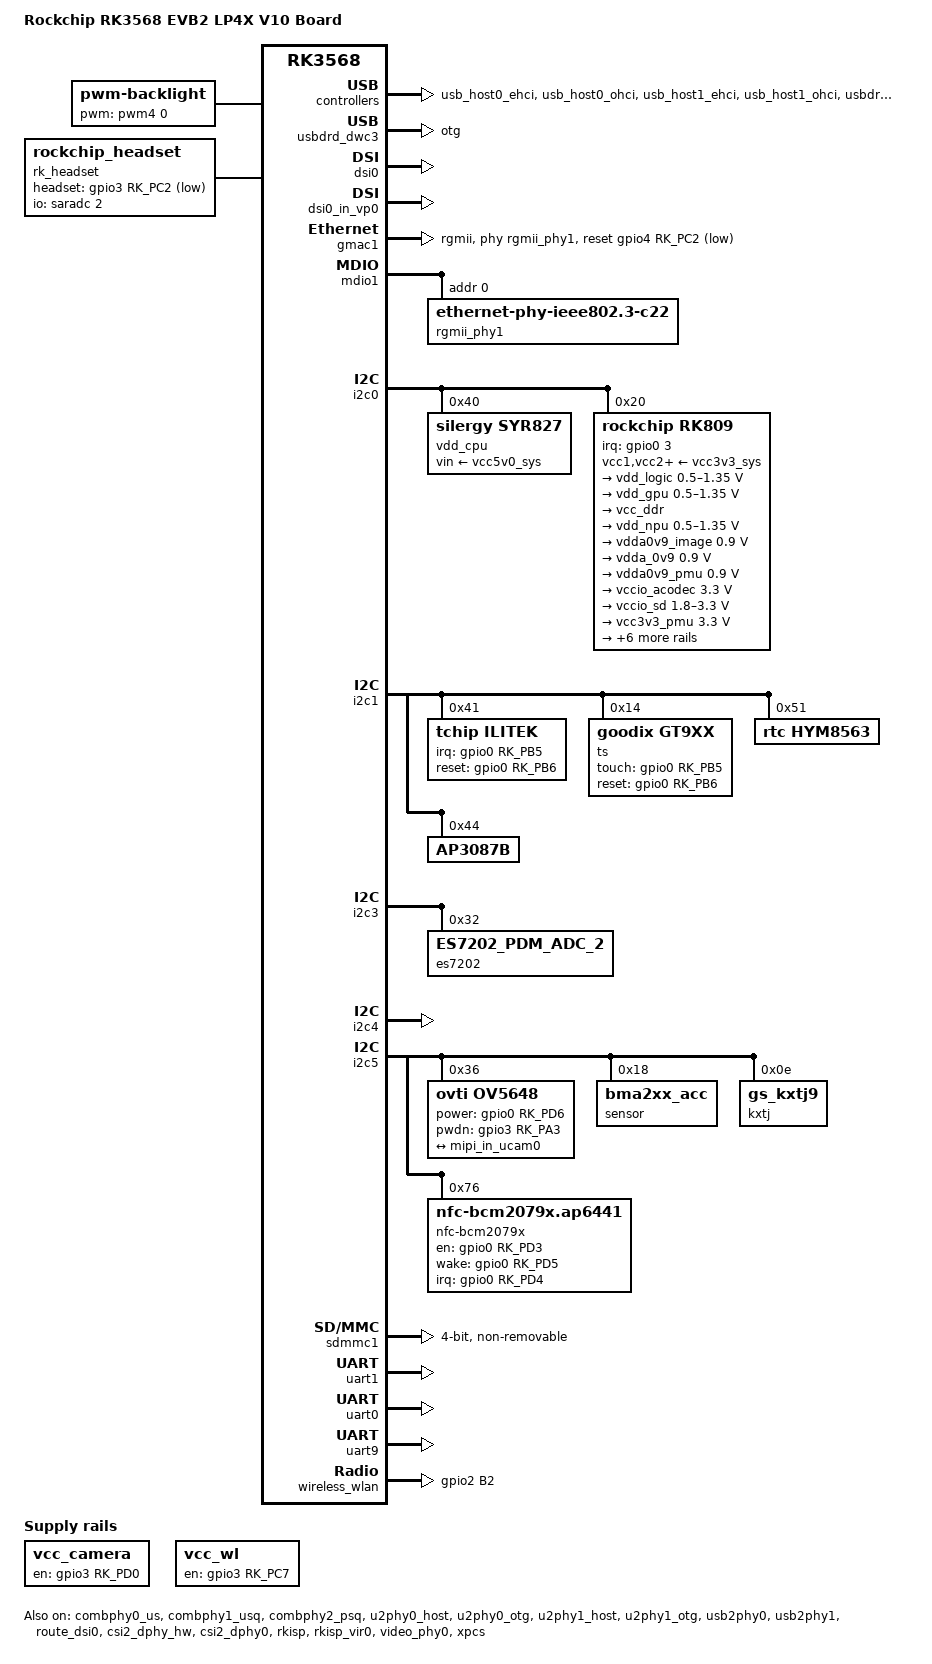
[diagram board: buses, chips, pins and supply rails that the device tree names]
// SPDX-License-Identifier: (GPL-2.0+ OR MIT)
/*
 * Copyright (c) 2020 Rockchip Electronics Co., Ltd.
 *
 */

/dts-v1/;

#include <dt-bindings/gpio/gpio.h>
#include <dt-bindings/pinctrl/rockchip.h>
#include "rk3568.dtsi"
#include "rk3568-evb-r106.dtsi"
#include "rk3568-android.dtsi"
//#include "lcd/lcd-JL101-CC1001-27J.dtsi"
#include "lcd/lcd-JJ101I008-A6-A5.dtsi"

/ {
	model = "Rockchip RK3568 EVB2 LP4X V10 Board";
	compatible = "rockchip,rk3568-evb2-lp4x-v10", "rockchip,rk3568";

	backlight: backlight {
		compatible = "pwm-backlight";
		pwms = <&pwm4 0 25000 0>;
		brightness-levels = <
			  0  20  20  21  21  22  22  23
			 23  24  24  25  25  26  26  27
			 27  28  28  29  29  30  30  31
			 31  32  32  33  33  34  34  35
			 35  36  36  37  37  38  38  39
			 40  41  42  43  44  45  46  47
			 48  49  50  51  52  53  54  55
			 56  57  58  59  60  61  62  63
			 64  65  66  67  68  69  70  71
			 72  73  74  75  76  77  78  79
			 80  81  82  83  84  85  86  87
			 88  89  90  91  92  93  94  95
			 96  97  98  99 100 101 102 103
			104 105 106 107 108 109 110 111
			112 113 114 115 116 117 118 119
			120 121 122 123 124 125 126 127
			128 129 130 131 132 133 134 135
			136 137 138 139 140 141 142 143
			144 145 146 147 148 149 150 151
			152 153 154 155 156 157 158 159
			160 161 162 163 164 165 166 167
			168 169 170 171 172 173 174 175
			176 177 178 179 180 181 182 183
			184 185 186 187 188 189 190 191
			192 193 194 195 196 197 198 199
			200 201 202 203 204 205 206 207
			208 209 210 211 212 213 214 215
			216 217 218 219 220 221 222 223
			224 225 226 227 228 229 230 231
			232 233 234 235 236 237 238 239
			240 241 242 243 244 245 246 247
			248 249 250 251 252 253 254 255
		>;
		default-brightness-level = <200>;
		//enable-gpios = <&gpio0 RK_PC6 GPIO_ACTIVE_HIGH>;
		//pinctrl-names = "default";
		//pinctrl-0 = <&bl_en>;
	};

	
	rk_headset: rk-headset {
		compatible = "rockchip_headset";
		headset_gpio = <&gpio3 RK_PC2 GPIO_ACTIVE_LOW>;
		pinctrl-names = "default";
		pinctrl-0 = <&hp_det>;
		io-channels = <&saradc 2>;
	};

	/*vcc2v5_sys: vcc2v5-ddr {
		compatible = "regulator-fixed";
		regulator-name = "vcc2v5-sys";
		regulator-always-on;
		regulator-boot-on;
		regulator-min-microvolt = <2500000>;
		regulator-max-microvolt = <2500000>;
		vin-supply = <&vcc3v3_sys>;
	};

	vcc3v3_pcie: gpio-regulator {
		compatible = "regulator-fixed";
		regulator-name = "vcc3v3_pcie";
		regulator-min-microvolt = <3300000>;
		regulator-max-microvolt = <3300000>;
		enable-active-high;
		gpio = <&gpio0 RK_PD4 GPIO_ACTIVE_HIGH>;
		startup-delay-us = <5000>;
		vin-supply = <&dc_12v>;
	};

	qsgmii_3v3: gpio-regulator {
		compatible = "regulator-gpio";
		regulator-name = "qsgmii_3v3";
		regulator-min-microvolt = <0100000>;
		regulator-max-microvolt = <3300000>;
		gpios = <&gpio0 RK_PB7 GPIO_ACTIVE_HIGH>;
		gpios-states = <0x1>;
		states = <0100000 0x0
			  3300000 0x1>;
	};

	vcc3v3_bu: vcc3v3-bu {
		compatible = "regulator-fixed";
		regulator-name = "vcc3v3_bu";
		regulator-always-on;
		regulator-boot-on;
		regulator-min-microvolt = <3300000>;
		regulator-max-microvolt = <3300000>;
		vin-supply = <&vcc5v0_sys>;
	};*/
	
	vcc_camera: vcc-camera-regulator {
		compatible = "regulator-fixed";
		gpio = <&gpio3 RK_PD0 GPIO_ACTIVE_HIGH>;
		pinctrl-names = "default";
		pinctrl-0 = <&camera_pwr>;
		regulator-name = "vcc_camera";
		enable-active-high;
		regulator-always-on;
		regulator-boot-on;
	};
	
	/*vcc_4g: vcc-4g-regulator {
		compatible = "regulator-fixed";
		gpio = <&gpio3 RK_PD2 GPIO_ACTIVE_HIGH>;
		pinctrl-names = "default";
		pinctrl-0 = <&pwr_4g>;
		regulator-name = "vcc_4g";
		enable-active-high;
		regulator-always-on;
		regulator-boot-on;
	};*/
	
	vcc_wl: vcc-wl-regulator {
		compatible = "regulator-fixed";
		gpio = <&gpio3 RK_PC7 GPIO_ACTIVE_HIGH>;
		pinctrl-names = "default";
		pinctrl-0 = <&pwr_wl>;
		regulator-name = "vcc_wl";
		enable-active-high;
		regulator-always-on;
		regulator-boot-on;
	};
	
	/*ext_cam_clk: external-camera-clock {
		compatible = "fixed-clock";
		clock-frequency = <24000000>;
		clock-output-names = "CLK_CAMERA_24MHZ";
		#clock-cells = <0>;
	};*/
};

/* add by rocky USB 3.0 OTG/SATA Combo PHY_0 */
&combphy0_us {
	status = "okay";
};

/* add by rocky USB 3.0 Host/SATA/QSGMII Combo PHY_1 */
&combphy1_usq {
	status = "okay";
};

&combphy2_psq {
	status = "okay";
};

//add by rocky usb2 phy0
&u2phy0_host {
	//phy-supply = <&vcc5v0_host>;
	status = "okay";
};

&u2phy0_otg {
	//vbus-supply = <&vcc5v0_otg>;
	status = "okay";
};

//add by rocky usb2.0 phy1
&u2phy1_host {
	//phy-supply = <&vcc5v0_host>;
	status = "okay";
};

&u2phy1_otg {
	//phy-supply = <&vcc5v0_host>;
	status = "okay";
};

/* add by rocky USB OTG/USB Host_1 USB 2.0 Comb PHY_0 */
&usb2phy0 {
	status = "okay";
};

/* add by rocky USB Host_1/USB Host_2 USB 2.0 Comb PHY_0 */
&usb2phy1 {
	status = "okay";
};

/* add by rocky USB 2.0 Host_2 EHCI controller for high speed */
&usb_host0_ehci {
	status = "okay";
};

/* add by rocky USB 2.0 Host_2 OHCI controller for full/low speed */
&usb_host0_ohci {
	status = "okay";
};

/* add by rocky USB 2.0 Host_3 EHCI controller for high speed */
&usb_host1_ehci {
	status = "okay";
};

/* add by rocky USB 2.0 Host_3 OHCI controller for full/low speed */
&usb_host1_ohci {
	status = "okay";
};

&usbdrd_dwc3 {
	dr_mode = "otg";
	extcon = <&usb2phy0>;
	status = "okay";
};

/* add by rocky USB 3.0 OTG controller */
&usbdrd30 {
	status = "okay";
};

&usbhost_dwc3 {
	status = "okay";
};

/* add by rocky USB 3.0 Host_1 controller */
&usbhost30 {
	status = "okay";
};

/*
 * video_phy0 needs to be enabled
 * when dsi0 is enabled
 */
&dsi0 {
	status = "okay";
};

&dsi0_in_vp0 {
	status = "okay";
};

&dsi0_in_vp1 {
	status = "disabled";
};

&dsi0_panel {
	status = "okay";
	power-supply = <&vcc_lcd>;
	enable-gpios = <&gpio3 RK_PD4 GPIO_ACTIVE_HIGH>;
	reset-gpios = <&gpio0 RK_PC6 GPIO_ACTIVE_LOW>;

	pinctrl-names = "default";
	pinctrl-0 = <&lcd_rst_gpio>;
};

&route_dsi0 {
	status = "okay";
	connect = <&vp0_out_dsi0>;
};
/*
 * video_phy1 needs to be enabled
 * when dsi1 is enabled
 */
&dsi1 {
	status = "disabled";
};

&dsi1_in_vp0 {
	status = "disabled";
};

&dsi1_in_vp1 {
	status = "disabled";
};

&route_dsi1 {
	status = "disabled";
	connect = <&vp1_out_dsi1>;
	logo,uboot = "logo_one.bmp";
};


#if 0
&gmac0 {
	phy-supply = <&qsgmii_3v3>;
	phy-mode = "qsgmii";
	rockchip,xpcs = <&xpcs>;

	assigned-clocks = <&cru SCLK_GMAC0_RX_TX>;
	assigned-clock-parents = <&gmac0_xpcsclk>;

	power-domains = <&power RK3568_PD_PIPE>;
	phys = <&combphy1_usq PHY_TYPE_QSGMII>;
	phy-handle = <&qsgmii_phy0>;

	status = "okay";
};

&gmac1 {
	phy-supply = <&qsgmii_3v3>;
	phy-mode = "qsgmii";

	snps,reset-gpio = <&gpio3 RK_PD5 GPIO_ACTIVE_LOW>;
	snps,reset-active-low;
	/* Reset time is 20ms, 100ms for rtl8211f */
	snps,reset-delays-us = <0 20000 100000>;

	assigned-clocks = <&cru SCLK_GMAC1_RX_TX>;
	assigned-clock-parents = <&gmac1_xpcsclk>;

	pinctrl-names = "default";
	pinctrl-0 = <&gmac1m1_miim>;

	power-domains = <&power RK3568_PD_PIPE>;
	phy-handle = <&qsgmii_phy1>;

	status = "okay";
};
#endif

&gmac1 {
	phy-mode = "rgmii";
	clock_in_out = "output";//rk3566 provide
	//clock_in_out = "input";//phy provide

	snps,reset-gpio = <&gpio4 RK_PC2 GPIO_ACTIVE_LOW>;
	snps,reset-active-low;
	/* Reset time is 20ms, 100ms for rtl8211f */
	snps,reset-delays-us = <0 20000 100000>;

	assigned-clocks = <&cru SCLK_GMAC1_RX_TX>, <&cru SCLK_GMAC1>;
	assigned-clock-parents = <&cru SCLK_GMAC1_RGMII_SPEED>, <&cru CLK_MAC1_2TOP>;//rk3566 provide
	//assigned-clock-parents = <&cru SCLK_GMAC1_RGMII_SPEED>, <&cru CLK_MAC1_2TOP>, <&gmac1_clkin>;//phy provide
	assigned-clock-rates = <0>, <125000000>;

	pinctrl-names = "default";
	#if 1//1-rk3566 provide   0-phy provide
	pinctrl-0 = <&gmac1m1_miim
		     &gmac1m1_tx_bus2_level3
		     &gmac1m1_rx_bus2
		     &gmac1m1_rgmii_clk_level2
		     &gmac1m1_rgmii_bus_level3>;
	#else
	pinctrl-0 = <&gmac1m0_miim
		     &gmac1m0_tx_bus2_level3
		     &gmac1m0_rx_bus2
		     &gmac1m0_rgmii_clk_level2
		     &gmac1m0_rgmii_bus_level3
			 &gmac1m0_clkinout>;
	#endif
	
	tx_delay = <0x3a>;//rk3566 provide
	rx_delay = <0x21>;//rk3566 provide
	//tx_delay = <0x3b>;//phy provide
	//rx_delay = <0x1f>;//phy provide

	phy-handle = <&rgmii_phy1>;
	status = "okay";
};

/*&mdio0 {
	rgmii_phy0: phy@0 {
		compatible = "ethernet-phy-ieee802.3-c22";
		reg = <0x0>;
	};
};*/

&mdio1 {
	rgmii_phy1: phy@0 {
		compatible = "ethernet-phy-ieee802.3-c22";
		reg = <0x0>;
	};
};

/*
 * power-supply should switche to vcc3v3_lcd1_n
 * when mipi panel is connected to dsi1.
 */
/*&gt1x {
	power-supply = <&vcc3v3_lcd0_n>;
};*/

&i2c0 {
	status = "okay";

	/*vdd_cpu: tcs4525@1c {
		compatible = "tcs,tcs452x";
		reg = <0x1c>;
		vin-supply = <&vcc5v0_sys>;
		regulator-compatible = "fan53555-reg";
		regulator-name = "vdd_cpu";
		regulator-min-microvolt = <712500>;
		regulator-max-microvolt = <1390000>;
		regulator-init-microvolt = <900000>;
		regulator-ramp-delay = <2300>;
		fcs,suspend-voltage-selector = <1>;
		regulator-boot-on;
		regulator-always-on;
		regulator-state-mem {
			regulator-off-in-suspend;
		};
	};*/

	vdd_cpu: syr827@40 {
		compatible = "silergy,syr827";
		reg = <0x40>;
		vin-supply = <&vcc5v0_sys>;
		regulator-compatible = "fan53555-reg";
		//pinctrl-0 = <&soc_slppin_gpio>;
		//vsel-gpios = <&gpio0 2 GPIO_ACTIVE_HIGH>;
		regulator-name = "vdd_cpu";
		regulator-min-microvolt = <712500>;
		regulator-max-microvolt = <1500000>;
		regulator-init-microvolt = <900000>;//rocky
		regulator-ramp-delay = <1000>;
		fcs,suspend-voltage-selector = <1>;
		regulator-always-on;
		regulator-boot-on;
		regulator-initial-state = <3>;
		regulator-state-mem {
			regulator-off-in-suspend;
		};
	};

	rk809: pmic@20 {
		compatible = "rockchip,rk809";
		reg = <0x20>;
		interrupt-parent = <&gpio0>;
		interrupts = <3 IRQ_TYPE_LEVEL_LOW>;

		pinctrl-names = "default", "pmic-sleep",
				"pmic-power-off", "pmic-reset";
		pinctrl-0 = <&pmic_int>;
		pinctrl-1 = <&soc_slppin_slp>, <&rk817_slppin_slp>;
		pinctrl-2 = <&soc_slppin_gpio>, <&rk817_slppin_pwrdn>;
		pinctrl-3 = <&soc_slppin_gpio>, <&rk817_slppin_rst>;

		rockchip,system-power-controller;
		wakeup-source;
		#clock-cells = <1>;
		clock-output-names = "rk808-clkout1", "rk808-clkout2";
		//fb-inner-reg-idxs = <2>;
		/* 1: rst regs (default in codes), 0: rst the pmic */
		pmic-reset-func = <0>;
		/* not save the PMIC_POWER_EN register in uboot */
		not-save-power-en = <1>;

		vcc1-supply = <&vcc3v3_sys>;
		vcc2-supply = <&vcc3v3_sys>;
		vcc3-supply = <&vcc3v3_sys>;
		vcc4-supply = <&vcc3v3_sys>;
		vcc5-supply = <&vcc3v3_sys>;
		vcc6-supply = <&vcc3v3_sys>;
		vcc7-supply = <&vcc3v3_sys>;
		vcc8-supply = <&vcc3v3_sys>;
		vcc9-supply = <&vcc3v3_sys>;

		pwrkey {
			status = "okay";
		};

		rtc {
			status = "disabled";
		};

		pinctrl_rk8xx: pinctrl_rk8xx {
			gpio-controller;
			#gpio-cells = <2>;

			rk817_slppin_null: rk817_slppin_null {
				pins = "gpio_slp";
				function = "pin_fun0";
			};

			rk817_slppin_slp: rk817_slppin_slp {
				pins = "gpio_slp";
				function = "pin_fun1";
			};

			rk817_slppin_pwrdn: rk817_slppin_pwrdn {
				pins = "gpio_slp";
				function = "pin_fun2";
			};

			rk817_slppin_rst: rk817_slppin_rst {
				pins = "gpio_slp";
				function = "pin_fun3";
			};
		};

		regulators {
			vdd_logic: DCDC_REG1 {
				regulator-always-on;
				regulator-boot-on;
				regulator-min-microvolt = <500000>;
				regulator-max-microvolt = <1350000>;
				regulator-init-microvolt = <900000>;
				regulator-ramp-delay = <6001>;
				regulator-initial-mode = <0x2>;
				regulator-name = "vdd_logic";
				regulator-state-mem {
					regulator-off-in-suspend;
				};
			};

			vdd_gpu: DCDC_REG2 {
				regulator-always-on;
				regulator-boot-on;
				regulator-min-microvolt = <500000>;
				regulator-max-microvolt = <1350000>;
				regulator-init-microvolt = <900000>;
				regulator-ramp-delay = <6001>;
				regulator-initial-mode = <0x2>;
				regulator-name = "vdd_gpu";
				regulator-state-mem {
					regulator-off-in-suspend;
				};
			};

			vcc_ddr: DCDC_REG3 {
				regulator-always-on;
				regulator-boot-on;
				regulator-initial-mode = <0x2>;
				regulator-name = "vcc_ddr";
				regulator-state-mem {
					regulator-on-in-suspend;
				};
			};

			vdd_npu: DCDC_REG4 {
				regulator-always-on;
				regulator-boot-on;
				regulator-min-microvolt = <500000>;
				regulator-max-microvolt = <1350000>;
				regulator-init-microvolt = <900000>;
				regulator-ramp-delay = <6001>;
				regulator-initial-mode = <0x2>;
				regulator-name = "vdd_npu";
				regulator-state-mem {
					regulator-off-in-suspend;
				};
			};

			vdda0v9_image: LDO_REG1 {
				regulator-boot-on;
				regulator-always-on;
				regulator-min-microvolt = <900000>;
				regulator-max-microvolt = <900000>;
				regulator-name = "vdda0v9_image";
				regulator-state-mem {
					regulator-off-in-suspend;
				};
			};

			vdda_0v9: LDO_REG2 {
				regulator-always-on;
				regulator-boot-on;
				regulator-min-microvolt = <900000>;
				regulator-max-microvolt = <900000>;
				regulator-name = "vdda_0v9";
				regulator-state-mem {
					regulator-off-in-suspend;
				};
			};

			vdda0v9_pmu: LDO_REG3 {
				regulator-always-on;
				regulator-boot-on;
				regulator-min-microvolt = <900000>;
				regulator-max-microvolt = <900000>;
				regulator-name = "vdda0v9_pmu";
				regulator-state-mem {
					regulator-on-in-suspend;
					regulator-suspend-microvolt = <900000>;
				};
			};

			vccio_acodec: LDO_REG4 {
				regulator-always-on;
				regulator-boot-on;
				regulator-min-microvolt = <3300000>;
				regulator-max-microvolt = <3300000>;
				regulator-name = "vccio_acodec";
				regulator-state-mem {
					regulator-off-in-suspend;
				};
			};

			vccio_sd: LDO_REG5 {
				regulator-always-on;
				regulator-boot-on;
				regulator-min-microvolt = <1800000>;
				regulator-max-microvolt = <3300000>;
				regulator-name = "vccio_sd";
				regulator-state-mem {
					regulator-off-in-suspend;
				};
			};

			vcc3v3_pmu: LDO_REG6 {
				regulator-always-on;
				regulator-boot-on;
				regulator-min-microvolt = <3300000>;
				regulator-max-microvolt = <3300000>;
				regulator-name = "vcc3v3_pmu";
				regulator-state-mem {
					regulator-on-in-suspend;
					regulator-suspend-microvolt = <3300000>;
				};
			};

			vcca_1v8: LDO_REG7 {
				regulator-always-on;
				regulator-boot-on;
				regulator-min-microvolt = <1800000>;
				regulator-max-microvolt = <1800000>;
				regulator-name = "vcca_1v8";
				regulator-state-mem {
					regulator-off-in-suspend;
				};
			};

			vcca1v8_pmu: LDO_REG8 {
				regulator-always-on;
				regulator-boot-on;
				regulator-min-microvolt = <1800000>;
				regulator-max-microvolt = <1800000>;
				regulator-name = "vcca1v8_pmu";
				regulator-state-mem {
					regulator-on-in-suspend;
					regulator-suspend-microvolt = <1800000>;
				};
			};

			vcca1v8_image: LDO_REG9 {
				regulator-always-on;
				regulator-boot-on;
				regulator-min-microvolt = <1800000>;
				regulator-max-microvolt = <1800000>;
				regulator-name = "vcca1v8_image";
				regulator-state-mem {
					regulator-off-in-suspend;
				};
			};

			vcc_1v8: DCDC_REG5 {
				regulator-always-on;
				regulator-boot-on;
				regulator-min-microvolt = <1800000>;
				regulator-max-microvolt = <1800000>;
				regulator-name = "vcc_1v8";
				regulator-state-mem {
					regulator-off-in-suspend;
				};
			};

			vcc_3v3: SWITCH_REG1 {
				regulator-always-on;
				regulator-boot-on;
				regulator-name = "vcc_3v3";
				regulator-state-mem {
					regulator-off-in-suspend;
				};
			};

			vcc3v3_sd: SWITCH_REG2 {
				regulator-always-on;
				regulator-boot-on;
				regulator-name = "vcc3v3_sd";
				regulator-state-mem {
					regulator-off-in-suspend;
				};
			};
		};

		rk809_codec: codec {
			#sound-dai-cells = <0>;
			compatible = "rockchip,rk809-codec", "rockchip,rk817-codec";
			clocks = <&cru I2S1_MCLKOUT>;
			clock-names = "mclk";
			assigned-clocks = <&cru I2S1_MCLKOUT>, <&cru I2S1_MCLK_TX_IOE>;
			assigned-clock-rates = <12288000>;
			assigned-clock-parents = <&cru I2S1_MCLKOUT_TX>, <&cru I2S1_MCLKOUT_TX>;
			pinctrl-names = "default";
			pinctrl-0 = <&i2s1m0_mclk>;
			hp-volume = <17>;//20-4.39mW//add 22Ohm  8-0.385-4.49mW//4.9mW
			spk-volume = <15>;//15-2.5v-4Ω3W
			capture-volume = <20>;//20
			//out-l2spk-r2hp;
			mic-in-differential;
			//pdmdata-out-enable;
			use-ext-amplifier;
			//adc-for-loopback;
			spk-ctl-gpios = <&gpio3 RK_PC3 GPIO_ACTIVE_HIGH>;
			status = "okay";
		};
	};
};

&i2c1 {
	status = "okay";

	ilitek@41 {
		status = "okay";
		compatible = "tchip,ilitek";
		reg = <0x41>;
		ilitek,irq-gpio = <&gpio0 RK_PB5 IRQ_TYPE_LEVEL_LOW>;
		ilitek,reset-gpio = <&gpio0 RK_PB6 GPIO_ACTIVE_HIGH>;	    
	};

	ts@14 {
		status = "okay";
		compatible = "goodix,gt9xx";
		reg = <0x14>;
		touch-gpio = <&gpio0 RK_PB5 IRQ_TYPE_LEVEL_LOW>;
		reset-gpio = <&gpio0 RK_PB6 GPIO_ACTIVE_HIGH>;
		max-x = <1920>;
		max-y = <1080>;
		tp-size = <89>;
    };

	hym8563: hym8563@51 {
		compatible = "rtc,hym8563";
		reg = <0x51>;
		#clock-cells = <0>;
		status = "okay";
	};

    AP3087B@44 {
        status = "okay";
        compatible = "AP3087B";
        reg = <0x44>;
    };
};

&i2c2 {
	status = "disabled";
	pinctrl-names = "default";
	pinctrl-0 = <&i2c2m1_xfer>;
};

&i2c3 {
	status = "okay";

	es7202: es7202@32 {
		status = "okay";
		#sound-dai-cells = <0>;
		compatible = "ES7202_PDM_ADC_2";
		reg = <0x32>;
	};
};

&i2c4 {
	status = "okay";
};

&i2c5 {
	status = "okay";

    ov5648: ov5648@36 {
        compatible = "ovti,ov5648";
        status = "okay";
        reg = <0x36>;
        //clocks = <&cru CLK_CAM0_OUT>;
        clocks = <&cru CLK_CIF_OUT>;//rocky
        clock-names = "xvclk";
        power-domains = <&power RK3568_PD_VI>;//rocky
        /* avdd-supply = <>; */
        /* dvdd-supply = <>; */
        /* dovdd-supply = <>; */
        /* reset-gpios = <>; */
        //dovdd-supply = <&vcc1v8_dvp>;
        power-gpios = <&gpio0 RK_PD6 GPIO_ACTIVE_HIGH>;
        //reset-gpios = <&gpio3 RK_PC1 GPIO_ACTIVE_HIGH>;
        pwdn-gpios = <&gpio3 RK_PA3 GPIO_ACTIVE_HIGH>;
        pinctrl-names = "rockchip,camera_default", "rockchip,camera_sleep";
        //pinctrl-0 = <&cam_clkout0>;
        //pinctrl-1 = <&cam_sleep>;
        pinctrl-0 = <&cif_clk>;
        pinctrl-1 = <&cam_sleep_2>;
        rockchip,camera-module-index = <0>;
        rockchip,camera-module-facing = "front";
        rockchip,camera-module-name = "default";
        rockchip,camera-module-lens-name = "default";                

        port {
            ov5648_out: endpoint {
                remote-endpoint = <&mipi_in_ucam0>;
                //remote-endpoint = <&mipi_in_ucam1>;
                data-lanes = <1 2>;
            };
        };
    };

	sensor@18 {
		status = "okay";
		compatible = "bma2xx_acc";
		reg = <0x18>;
		type = <SENSOR_TYPE_ACCEL>;
		irq_enable = <0>;
		//pinctrl-names = "default";
		//pinctrl-0 = <&sensor_gpio>;
		//irq-gpio = <&gpio3 RK_PA4 IRQ_TYPE_EDGE_RISING>;
		poll_delay_ms = <10>;
		power-off-in-suspend = <1>;
		layout = <7>;
	};

	kxtj: kxtj2@0e {
		status = "okay";
		compatible = "gs_kxtj9";
		reg = <0x0e>;
		type = <SENSOR_TYPE_ACCEL>;
		irq_enable = <0>;
		//pinctrl-names = "default";
		//pinctrl-0 = <&sensor_gpio>;
		//irq-gpio = <&gpio3 RK_PA4 IRQ_TYPE_EDGE_RISING>;
		poll_delay_ms = <30>;
		power-off-in-suspend = <1>;
		layout = <7>;
	};

	nfc-bcm2079x@76 {
		compatible = "nfc-bcm2079x.ap6441";
		reg = <0x76>;
		//pw_gpio = <&gpio7 16 GPIO_ACTIVE_HIGH>;
		en_gpio   = <&gpio0 RK_PD3 GPIO_ACTIVE_HIGH>;
		wake_gpio = <&gpio0 RK_PD5 GPIO_ACTIVE_HIGH>;
		irq_gpio  = <&gpio0 RK_PD4 IRQ_TYPE_EDGE_RISING>;
		status = "okay";
    };
};

&csi2_dphy_hw {
	status = "okay";
};

&csi2_dphy0 {
	status = "okay";

	ports {
		#address-cells = <1>;
		#size-cells = <0>;
		port@0 {
			reg = <0>;
			#address-cells = <1>;
			#size-cells = <0>;
			
			mipi_in_ucam0: endpoint@0 {
				reg = <0>;
				remote-endpoint = <&ov5648_out>;
				data-lanes = <1 2>;
			};
		};
		port@1 {
			reg = <1>;
			#address-cells = <1>;
			#size-cells = <0>;

			csidphy0_out: endpoint@0 {
				reg = <0>;
				remote-endpoint = <&isp0_in>;
			};
		};
	};
};

&rkisp {
	status = "okay";
};

&rkisp_mmu {
	status = "okay";
};

&rkisp_vir0 {
	status = "okay";

	port {
		#address-cells = <1>;
		#size-cells = <0>;

		isp0_in: endpoint@0 {
			reg = <0>;
			remote-endpoint = <&csidphy0_out>;
		};
	};
};

&mdio1 {
	rgmii_phy1: phy@0 {
		compatible = "ethernet-phy-ieee802.3-c22";
		reg = <0x0>;
	};
};

&video_phy0 {
	status = "okay";
};

&video_phy1 {
	status = "disabled";
};

/*&pcie2x1 {
	reset-gpios = <&gpio1 RK_PB2 GPIO_ACTIVE_HIGH>;
	vpcie3v3-supply = <&pcie20_3v3>;
	status = "okay";
};

&pcie30phy {
	status = "okay";
};

&pcie3x2 {
	reset-gpios = <&gpio0 RK_PC6 GPIO_ACTIVE_HIGH>;
	vpcie3v3-supply = <&pcie30_3v3>;
	status = "okay";
};*/

&pinctrl {
	headphone {
		hp_det: hp-det {
			rockchip,pins = <3 RK_PC2 RK_FUNC_GPIO &pcfg_pull_down>;
		};
	};
/*
	mxc6655xa {
		mxc6655xa_irq_gpio: mxc6655xa_irq_gpio {
			rockchip,pins = <3 RK_PD7 RK_FUNC_GPIO &pcfg_pull_none>;
		};
	};

	sii902x {
		sii902x_hdmi_int: sii902x-hdmi-int {
			rockchip,pins = <3 RK_PA0 RK_FUNC_GPIO &pcfg_pull_up>;
		};
	};*/

	sdio-pwrseq {
		/*wifi_enable_h: wifi-enable-h {
			rockchip,pins = <2 RK_PB1 RK_FUNC_GPIO &pcfg_pull_none>;
		};*/

		wifi_32k: wifi-32k {
			rockchip,pins = <2 RK_PC6 1 &pcfg_pull_none>;
		};
	};
	
	vcc-wl {
		pwr_wl: pwr-wl {
			rockchip,pins = <3 RK_PC7 RK_FUNC_GPIO &pcfg_pull_none>;
		};
	};

	wireless-wlan {
		wifi_host_wake_irq: wifi-host-wake-irq {
			rockchip,pins = <2 RK_PB2 RK_FUNC_GPIO &pcfg_pull_down>;
		};
	};

	wireless-bluetooth {
		uart1_gpios: uart1-gpios {
			rockchip,pins = <2 RK_PB5 RK_FUNC_GPIO &pcfg_pull_none>;
		};
	};

	/*bl_ctrl {
		bl_en: bl-en {
			rockchip,pins = <0 RK_PC6 RK_FUNC_GPIO &pcfg_pull_none>;
		};
	};*/

	lcd {
		lcd_rst_gpio: lcd-rst-gpio {
			rockchip,pins = <0 RK_PC6 RK_FUNC_GPIO &pcfg_pull_none>;
		};

		lcd_enable_gpio: lcd-enable-gpio {
			rockchip,pins = <3 RK_PC6 RK_FUNC_GPIO &pcfg_pull_none>;
		};
	};

	usb {
		camera_pwr: camera-pwr {
			rockchip,pins =
				<3 RK_PD0 RK_FUNC_GPIO &pcfg_pull_none>;
		};
		
		/*pwr_4g: pwr-4g {
			rockchip,pins =
				<3 RK_PD2 RK_FUNC_GPIO &pcfg_pull_none>;
		};*/
	};
	
	cam {
		cam_clkout0: cam-clkout0 {
			rockchip,pins =
				/* cam_clkout0 */
				<4 RK_PA7 1 &pcfg_pull_none>;
		};

		cam_sleep: cam-sleep {
			rockchip,pins =
				/* cam_sleep */
				<4 RK_PA7 RK_FUNC_GPIO &pcfg_pull_none>;
		};
		
		cam_sleep_2: cam-sleep-2 {
			rockchip,pins =
				/* cam_sleep */
				<4 RK_PC0 RK_FUNC_GPIO &pcfg_pull_none>;
		};
	};
};

/*&pmu_io_domains {
	vccio6-supply = <&vcc_3v3>;
};*/

&pwm3 {
	status = "disabled";

	compatible = "rockchip,remotectl-pwm";
	remote_pwm_id = <3>;
	handle_cpu_id = <1>;
	remote_support_psci = <0>;
	pinctrl-names = "default";
	pinctrl-0 = <&pwm3_pins>;

	ir_key1 {
		rockchip,usercode = <0x4040>;
		rockchip,key_table =
			<0xf2	KEY_REPLY>,
			<0xba	KEY_BACK>,
			<0xf4	KEY_UP>,
			<0xf1	KEY_DOWN>,
			<0xef	KEY_LEFT>,
			<0xee	KEY_RIGHT>,
			<0xbd	KEY_HOME>,
			<0xea	KEY_VOLUMEUP>,
			<0xe3	KEY_VOLUMEDOWN>,
			<0xe2	KEY_SEARCH>,
			<0xb2	KEY_POWER>,
			<0xbc	KEY_MUTE>,
			<0xec	KEY_MENU>,
			<0xbf	0x190>,
			<0xe0	0x191>,
			<0xe1	0x192>,
			<0xe9	183>,
			<0xe6	248>,
			<0xe8	185>,
			<0xe7	186>,
			<0xf0	388>,
			<0xbe	0x175>;
	};

	ir_key2 {
		rockchip,usercode = <0xff00>;
		rockchip,key_table =
			<0xf9	KEY_HOME>,
			<0xbf	KEY_BACK>,
			<0xfb	KEY_MENU>,
			<0xaa	KEY_REPLY>,
			<0xb9	KEY_UP>,
			<0xe9	KEY_DOWN>,
			<0xb8	KEY_LEFT>,
			<0xea	KEY_RIGHT>,
			<0xeb	KEY_VOLUMEDOWN>,
			<0xef	KEY_VOLUMEUP>,
			<0xf7	KEY_MUTE>,
			<0xe7	KEY_POWER>,
			<0xfc	KEY_POWER>,
			<0xa9	KEY_VOLUMEDOWN>,
			<0xa8	KEY_VOLUMEDOWN>,
			<0xe0	KEY_VOLUMEDOWN>,
			<0xa5	KEY_VOLUMEDOWN>,
			<0xab	183>,
			<0xb7	388>,
			<0xe8	388>,
			<0xf8	184>,
			<0xaf	185>,
			<0xed	KEY_VOLUMEDOWN>,
			<0xee	186>,
			<0xb3	KEY_VOLUMEDOWN>,
			<0xf1	KEY_VOLUMEDOWN>,
			<0xf2	KEY_VOLUMEDOWN>,
			<0xf3	KEY_SEARCH>,
			<0xb4	KEY_VOLUMEDOWN>,
			<0xbe	KEY_SEARCH>;
	};

	ir_key3 {
		rockchip,usercode = <0x1dcc>;
		rockchip,key_table =
			<0xee	KEY_REPLY>,
			<0xf0	KEY_BACK>,
			<0xf8	KEY_UP>,
			<0xbb	KEY_DOWN>,
			<0xef	KEY_LEFT>,
			<0xed	KEY_RIGHT>,
			<0xfc	KEY_HOME>,
			<0xf1	KEY_VOLUMEUP>,
			<0xfd	KEY_VOLUMEDOWN>,
			<0xb7	KEY_SEARCH>,
			<0xff	KEY_POWER>,
			<0xf3	KEY_MUTE>,
			<0xbf	KEY_MENU>,
			<0xf9	0x191>,
			<0xf5	0x192>,
			<0xb3	388>,
			<0xbe	KEY_1>,
			<0xba	KEY_2>,
			<0xb2	KEY_3>,
			<0xbd	KEY_4>,
			<0xf9	KEY_5>,
			<0xb1	KEY_6>,
			<0xfc	KEY_7>,
			<0xf8	KEY_8>,
			<0xb0	KEY_9>,
			<0xb6	KEY_0>,
			<0xb5	KEY_BACKSPACE>;
	};
};

&pwm7 {
	status = "disabled";
};

&sdmmc1 {
	max-frequency = <50000000>;
	supports-sdio;
	bus-width = <4>;
	disable-wp;
	cap-sd-highspeed;
	cap-sdio-irq;
	keep-power-in-suspend;
	mmc-pwrseq = <&sdio_pwrseq>;
	non-removable;
	pinctrl-names = "default";
	pinctrl-0 = <&sdmmc1_bus4 &sdmmc1_cmd &sdmmc1_clk>;
	//sd-uhs-sdr104;
	status = "okay";
};

&sdmmc2 {
	status = "disabled";
};

&uart1 {
	status = "okay";
	pinctrl-names = "default";
	pinctrl-0 = <&uart1m0_xfer &uart1m0_ctsn>;
};

&uart0 {
	status = "okay";
	pinctrl-names = "default";
	pinctrl-0 = <&uart0_xfer>;
};

&uart9 {
	status = "okay";
	pinctrl-names = "default";
	pinctrl-0 = <&uart9m1_xfer>;
};

/*&vcc3v3_lcd0_n {
	gpio = <&gpio0 RK_PC7 GPIO_ACTIVE_HIGH>;
	enable-active-high;
};

&vcc3v3_lcd1_n {
	gpio = <&gpio0 RK_PC5 GPIO_ACTIVE_HIGH>;
	enable-active-high;
};*/

&wireless_wlan {
	pinctrl-names = "default";
	pinctrl-0 = <&wifi_host_wake_irq>;
	WIFI,host_wake_irq = <&gpio2 RK_PB2 GPIO_ACTIVE_HIGH>;
};

&xpcs {
	status = "okay";
};

/*============note===========*/

/*
8821CS AP6255 AP6256:vcc_1v8
8723DS AP6212:vcc_3v3
*/
&pmu_io_domains {
	vccio4-supply = <&vcc_1v8>;
};
/*============note===========*/
